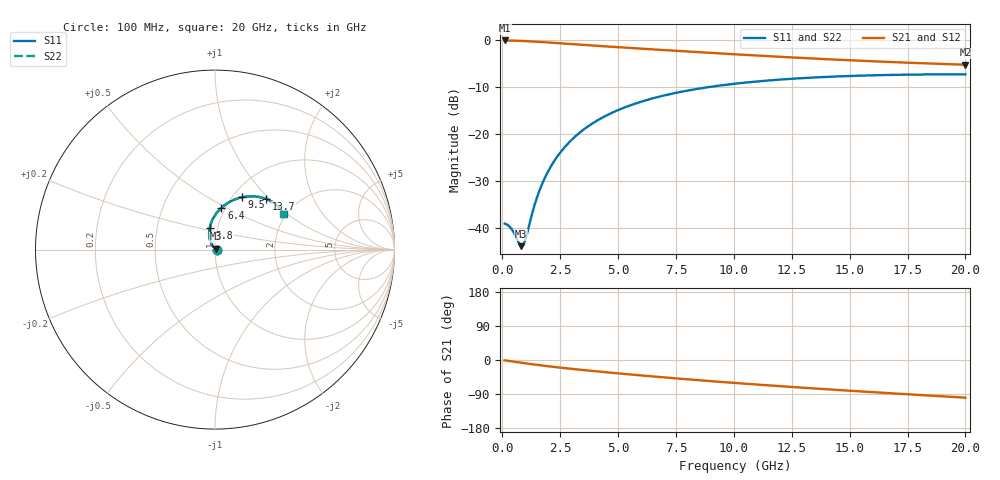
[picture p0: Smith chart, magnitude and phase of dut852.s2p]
! Touchstone file exported from HFSS 2024.1.0
!  File:  C:/UserFiles/LocalFiles/RDL_TSV_Batchsim/temp_RDL_TSV_852_1779922948.aedt
!  Generated:  07:18:05 AM May 28, 2026
!  Design:  RDL_TSV
!  Project:  temp_RDL_TSV_852_1779922948
!  Setup:  Setup1
!  Solution:  Sweep
! Variables:
!  dtsv = 8.84um
!  hbump = 3um
!  htsv = 59.98um
!  ldown = 111.56um
!  lrdl = 198.19um
!  p = 40
!  p1 = 44.29um
!  rhole = 10um
!  subl = 1127.44um
!  t = 450um
!  tdown = 3.99um
!  trdl = 3.22um
!  viad = 10um
!  wdown = 14.84um
!  wrdl = 10.34um
!  xbump = 18um
# GHz S MA R 50.000000
! Terminal data exported
! Port[1] = TM1_1_T1
! Port[2] = TM1_4_T1
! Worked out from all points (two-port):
!   200 points, 100 MHz to 20 GHz, reference 50 ohm
!   highest |S21| = -0.10 dB at 100 MHz (marker M1); lowest = -5.3 dB at 20 GHz (marker M2)
!   |S21| within 3 dB of the highest: start of sweep to 10.22 GHz
!   lowest |S11| = -44.0 dB at 800 MHz (marker M3), VSWR 1.01, Z = 50.4 + j0.481 ohm
!   |S11| at or under -10 dB: start of sweep to 8.981 GHz
!   |S22| runs from -44.0 to -7.3 dB; largest |S21 - S12| = 5.4e-15
!   S11 on the Smith chart (normalised r, x): 100 MHz: 1.02, +0.00; 3.8 GHz: 0.92, +0.23; 6.4 GHz: 0.96, +0.47; 9.5 GHz: 1.11, +0.73; 13.7 GHz: 1.42, +0.95; 20 GHz: 1.93, +0.94
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0.1  0.01102 2.4  0.9887 -0.9  0.9887 -0.9  0.01102 2.4
! Gamma 0 0 0 0
! Port Impedance 50 0 50 0
0.4  0.009669 10.7  0.9859 -3.6  0.9859 -3.6  0.009669 10.7
0.8  0.006334 48.9  0.9785 -7.1  0.9785 -7.1  0.006334 48.9
0.9  0.006406 68.6  0.9761 -8.0  0.9761 -8.0  0.006406 68.6
1  0.00739 87.2  0.9735 -8.8  0.9735 -8.8  0.00739 87.2
1.3  0.01443 115.1  0.9647 -11.3  0.9647 -11.3  0.01443 115.1
1.5  0.02098 120.4  0.9582 -12.8  0.9582 -12.8  0.02098 120.4
1.7  0.02838 122.0  0.9514 -14.4  0.9514 -14.4  0.02838 122.0
2  0.04062 121.4  0.9406 -16.6  0.9406 -16.6  0.04061 121.4
2.3  0.0538 119.2  0.9296 -18.7  0.9296 -18.7  0.05379 119.2
2.7  0.07227 115.3  0.9148 -21.5  0.9148 -21.5  0.07226 115.3
3.5  0.1103 106.9  0.8864 -26.5  0.8864 -26.5  0.1103 106.9
3.8  0.1245 103.8  0.8761 -28.4  0.8761 -28.4  0.1245 103.8
5  0.1789 92.5  0.8378 -35.3  0.8378 -35.3  0.1788 92.5
6.4  0.2351 81.4  0.7969 -42.9  0.7969 -42.9  0.235 81.4
6.8  0.2495 78.5  0.7858 -44.9  0.7858 -44.9  0.2495 78.5
9.5  0.3292 62.5  0.7167 -58.1  0.7167 -58.1  0.3291 62.5
10.1  0.343 59.5  0.7027 -60.8  0.7027 -60.8  0.3429 59.5
13.4  0.3975 45.8  0.6351 -74.8  0.6351 -74.8  0.3974 45.8
13.7  0.4009 44.7  0.6298 -76.0  0.6298 -76.0  0.4008 44.7
16.7  0.4239 35.4  0.5832 -87.5  0.5832 -87.5  0.4237 35.4
20  0.4303 27.5  0.5453 -99.4  0.5453 -99.4  0.43 27.5
